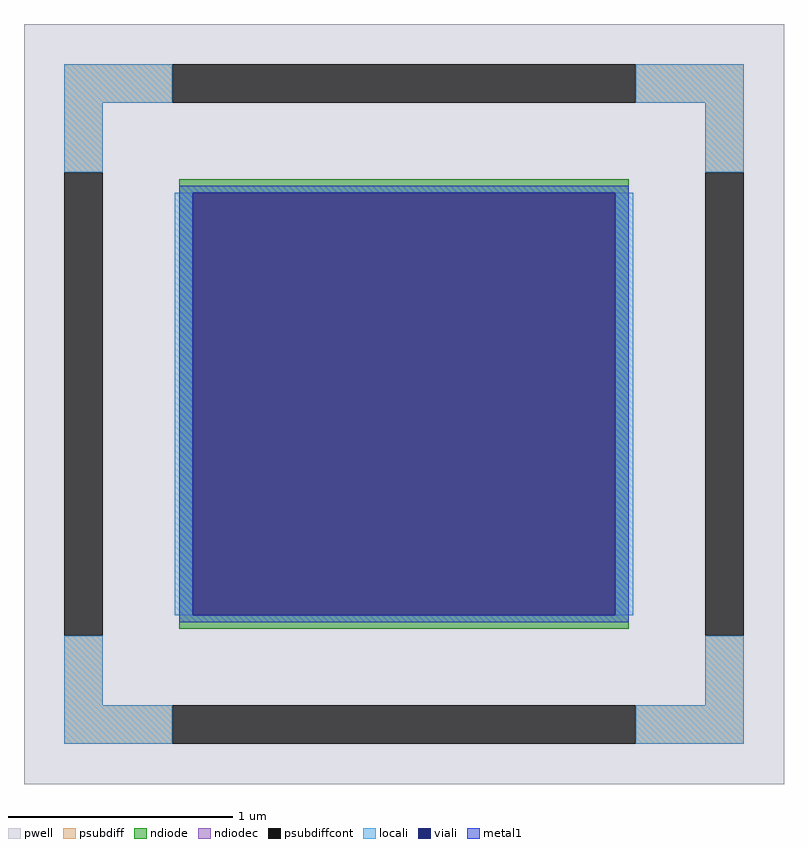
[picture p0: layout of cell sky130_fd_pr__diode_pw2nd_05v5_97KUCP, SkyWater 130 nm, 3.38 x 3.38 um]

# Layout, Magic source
magic
tech sky130A
<< pwell >>
rect -169 -169 169 169
<< psubdiff >>
rect -151 134 -103 151
rect 103 134 151 151
rect -151 103 -134 134
rect 134 103 151 134
rect -151 -134 -134 -103
rect 134 -134 151 -103
rect -151 -151 -103 -134
rect 103 -151 151 -134
<< psubdiffcont >>
rect -103 134 103 151
rect -151 -103 -134 103
rect 134 -103 151 103
rect -103 -151 103 -134
<< ndiode >>
rect -100 94 100 100
rect -100 -94 -94 94
rect 94 -94 100 94
rect -100 -100 100 -94
<< ndiodec >>
rect -94 -94 94 94
<< locali >>
rect -151 134 -103 151
rect 103 134 151 151
rect -151 103 -134 134
rect 134 103 151 134
rect -102 -94 -94 94
rect 94 -94 102 94
rect -151 -134 -134 -103
rect 134 -134 151 -103
rect -151 -151 -103 -134
rect 103 -151 151 -134
<< viali >>
rect -94 -94 94 94
<< metal1 >>
rect -100 94 100 97
rect -100 -94 -94 94
rect 94 -94 100 94
rect -100 -97 100 -94
<< properties >>
string FIXED_BBOX -142 -142 142 142
string gencell sky130_fd_pr__diode_pw2nd_05v5
string library sky130
string parameters w 2 l 2 area 4.0 peri 8.0 nx 1 ny 1 dummy 0 lmin 0.45 wmin 0.45 elc 1 erc 1 etc 1 ebc 1 doverlap 0 compatible {sky130_fd_pr__diode_pw2nd_05v5 sky130_fd_pr__diode_pw2nd_05v5_lvt  sky130_fd_pr__diode_pw2nd_05v5_nvt sky130_fd_pr__diode_pw2nd_11v0} full_metal 1 vias 1 viagb 0 viagt 0 viagl 0 viagr 0
<< end >>
